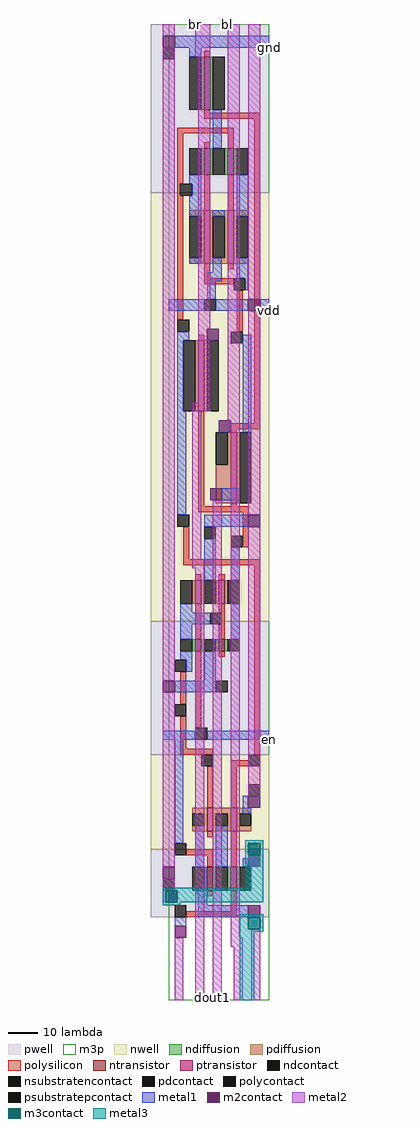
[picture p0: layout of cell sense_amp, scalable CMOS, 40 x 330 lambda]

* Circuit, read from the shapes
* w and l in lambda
.subckt sense_amp bl br dout dout1 dout_bar en gnd vdd
M1 gnd en n1 gnd nfet w=4 l=2
M2 n2 dout1 dout_bar gnd nfet w=9 l=2
M3 n2 n3 gnd gnd nfet w=18 l=2
M4 n4 en dout gnd nfet w=8 l=2
M5 n3 n1 gnd gnd nfet w=4 l=2
M6 dout1 dout_bar n2 gnd nfet w=9 l=2
M7 gnd dout_bar n4 gnd nfet w=8 l=2
M8 vdd en n1 vdd pfet w=8 l=2
M9 br n3 dout_bar vdd pfet w=24 l=2
M10 vdd dout1 dout_bar vdd pfet w=18 l=2
M11 n4 n1 dout vdd pfet w=8 l=2
M12 n3 n1 vdd vdd pfet w=8 l=2
M13 dout1 dout_bar vdd vdd pfet w=18 l=2
M14 vdd dout_bar n4 vdd pfet w=8 l=2
M15 dout1 n3 bl vdd pfet w=24 l=2
.ends

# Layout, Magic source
magic
tech scmos
<< nwell >>
rect -6 128 34 273
rect -6 51 34 83
<< pwell >>
rect -6 273 34 330
rect -6 83 34 128
rect -6 28 34 51
<< ntransistor >>
rect 12 301 14 319
rect 12 279 14 288
rect 20 279 22 288
rect 9 118 11 122
rect 17 118 19 122
rect 13 37 15 45
rect 21 37 23 45
<< ptransistor >>
rect 12 249 14 267
rect 20 249 22 267
rect 10 199 12 223
rect 21 168 23 192
rect 9 134 11 142
rect 17 134 19 142
rect 13 57 15 65
rect 21 57 23 65
<< ndiffusion >>
rect 11 301 12 319
rect 14 301 15 319
rect 11 279 12 288
rect 14 279 15 288
rect 19 279 20 288
rect 22 279 23 288
rect 8 118 9 122
rect 11 118 12 122
rect 16 118 17 122
rect 19 118 20 122
rect 12 37 13 45
rect 15 37 16 45
rect 20 37 21 45
rect 23 37 24 45
<< pdiffusion >>
rect 7 265 12 267
rect 11 251 12 265
rect 7 249 12 251
rect 14 265 20 267
rect 14 251 15 265
rect 19 251 20 265
rect 14 249 20 251
rect 22 265 27 267
rect 22 251 23 265
rect 22 249 27 251
rect 9 199 10 223
rect 12 199 13 223
rect 20 181 21 192
rect 16 168 21 181
rect 23 168 24 192
rect 8 134 9 142
rect 11 134 12 142
rect 16 134 17 142
rect 19 134 20 142
rect 8 63 13 65
rect 12 59 13 63
rect 8 57 13 59
rect 15 63 21 65
rect 15 59 16 63
rect 20 59 21 63
rect 15 57 21 59
rect 23 63 28 65
rect 23 59 24 63
rect 23 57 28 59
<< ndcontact >>
rect 7 301 11 319
rect 15 301 19 319
rect 7 279 11 288
rect 15 279 19 288
rect 23 279 27 288
rect 4 118 8 122
rect 12 118 16 122
rect 20 118 24 122
rect 8 37 12 45
rect 16 37 20 45
rect 24 37 28 45
<< pdcontact >>
rect 7 251 11 265
rect 15 251 19 265
rect 23 251 27 265
rect 5 199 9 223
rect 13 199 17 223
rect 16 181 20 192
rect 24 168 28 192
rect 4 134 8 142
rect 12 134 16 142
rect 20 134 24 142
rect 8 59 12 63
rect 16 59 20 63
rect 24 59 28 63
<< psubstratepcontact >>
rect -2 318 2 322
rect 16 104 20 108
rect -2 37 2 41
<< nsubstratencontact >>
rect 12 233 16 237
rect 12 156 16 160
rect 27 69 31 73
<< polysilicon >>
rect 12 319 14 321
rect 12 300 14 301
rect 12 298 31 300
rect 3 293 22 295
rect 3 276 5 293
rect 12 288 14 290
rect 20 288 22 293
rect 3 272 4 276
rect 3 230 5 272
rect 12 267 14 279
rect 20 267 22 279
rect 12 244 14 249
rect 20 247 22 249
rect 12 242 22 244
rect 23 226 25 240
rect 10 223 12 225
rect 10 167 12 199
rect 29 195 31 298
rect 21 193 31 195
rect 21 192 23 193
rect 21 167 23 168
rect 10 165 27 167
rect 5 149 7 160
rect 25 153 27 165
rect 5 147 31 149
rect 9 142 11 144
rect 17 142 19 144
rect 9 122 11 134
rect 17 131 19 134
rect 18 127 19 131
rect 17 122 19 127
rect 4 100 6 111
rect 4 85 6 96
rect 9 92 11 118
rect 17 116 19 118
rect 4 83 15 85
rect 29 83 31 147
rect 13 65 15 79
rect 21 79 27 81
rect 21 65 23 79
rect 13 55 15 57
rect 6 49 15 51
rect 13 45 15 49
rect 21 45 23 57
rect 13 35 15 37
rect 21 30 23 37
rect 6 28 23 30
<< polycontact >>
rect 4 272 8 276
rect 22 240 26 244
rect 3 226 7 230
rect 21 222 25 226
rect 3 160 7 164
rect 21 153 25 157
rect 14 127 18 131
rect 2 111 6 115
rect 2 96 6 100
rect 9 88 13 92
rect 11 79 15 83
rect 27 79 31 83
rect 2 49 6 53
rect 2 28 6 32
<< metal1 >>
rect 2 322 34 326
rect 7 319 11 322
rect 15 288 18 301
rect 7 276 11 279
rect 8 272 11 276
rect 7 265 11 272
rect 7 249 11 251
rect 15 265 19 267
rect 23 265 27 279
rect 15 246 18 251
rect 13 243 18 246
rect 23 244 27 251
rect 13 237 16 243
rect 26 240 27 244
rect 0 233 12 237
rect 16 233 27 237
rect 31 233 34 237
rect 3 223 7 226
rect 3 199 5 223
rect 3 164 6 199
rect 25 192 28 225
rect 18 169 24 173
rect 12 160 27 164
rect 12 142 16 156
rect 21 142 24 153
rect 4 131 8 134
rect 4 127 14 131
rect 4 122 8 127
rect 21 122 24 134
rect 4 115 8 118
rect 6 111 8 115
rect 12 108 16 118
rect 2 104 16 108
rect -2 88 9 91
rect 13 88 34 91
rect 2 53 5 88
rect 25 65 27 69
rect 25 63 28 65
rect 9 45 12 59
rect 16 45 20 59
rect 25 45 27 48
rect 12 37 13 45
rect 9 36 13 37
rect 10 32 13 36
rect 10 28 27 32
rect 2 25 6 28
<< m2contact >>
rect -2 322 2 326
rect 27 233 31 237
rect 13 223 17 227
rect 17 192 21 196
rect 14 169 18 173
rect 27 160 31 164
rect -2 104 2 108
rect 27 65 31 69
rect 27 45 31 49
rect -2 41 2 45
rect 27 28 31 32
rect 2 21 6 25
<< metal2 >>
rect -2 326 2 330
rect -2 108 2 322
rect 9 319 14 330
rect 10 227 14 319
rect 10 223 13 227
rect 10 202 14 223
rect 8 199 14 202
rect 8 149 11 199
rect 20 196 24 330
rect 8 146 12 149
rect -2 45 2 104
rect -2 37 2 41
rect -2 33 -1 37
rect 2 0 5 21
rect 9 0 12 146
rect 15 0 18 169
rect 21 21 24 196
rect 27 237 31 330
rect 27 164 31 233
rect 27 69 31 160
rect 21 18 25 21
rect 22 0 25 18
rect 28 0 31 24
<< m3contact >>
rect -1 33 3 37
rect 27 49 31 53
rect 27 24 31 28
<< metal3 >>
rect 26 53 32 54
rect 26 49 27 53
rect 31 49 32 53
rect 26 38 32 49
rect -2 37 32 38
rect -2 33 -1 37
rect 3 33 32 37
rect -2 32 4 33
rect 24 28 32 29
rect 24 24 27 28
rect 31 24 32 28
rect 24 23 32 24
rect 24 0 29 23
<< m3p >>
rect 0 0 34 330
<< labels >>
flabel metal1 34 233 34 233 6 FreeSans 26 180 0 0 vdd
flabel metal1 34 322 34 322 6 FreeSans 26 180 0 0 gnd
flabel metal1 34 88 34 88 6 FreeSans 26 180 0 0 en
rlabel metal2 20 330 20 330 5 bl
rlabel metal2 9 330 9 330 5 br
rlabel metal2 15 1 15 1 1 dout1
rlabel metal2 2 1 2 1 1 dout_bar
rlabel metal3 24 0 24 0 1 dout
<< properties >>
string path 270.000 468.000 270.000 486.000 288.000 486.000 288.000 468.000 270.000 468.000 
<< end >>
